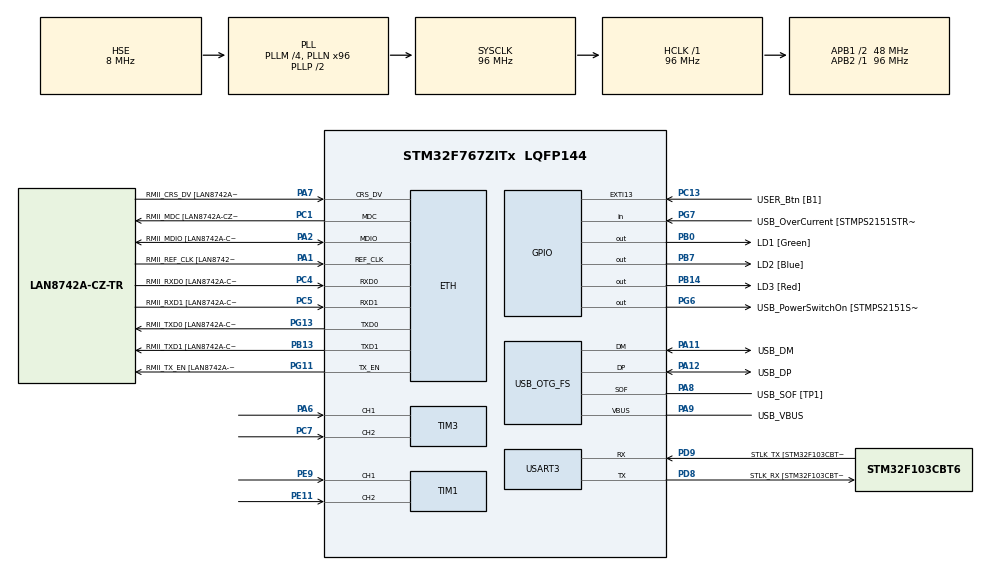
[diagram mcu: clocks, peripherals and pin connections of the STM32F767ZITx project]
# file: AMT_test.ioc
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Dma.Request0=USART3_TX
Dma.USART3_TX.0.Direction=DMA_MEMORY_TO_PERIPH
Dma.USART3_TX.0.FIFOMode=DMA_FIFOMODE_DISABLE
Dma.USART3_TX.0.Instance=DMA1_Stream3
Dma.USART3_TX.0.MemDataAlignment=DMA_MDATAALIGN_BYTE
Dma.USART3_TX.0.MemInc=DMA_MINC_ENABLE
Dma.USART3_TX.0.Mode=DMA_NORMAL
Dma.USART3_TX.0.PeriphDataAlignment=DMA_PDATAALIGN_BYTE
Dma.USART3_TX.0.PeriphInc=DMA_PINC_DISABLE
Dma.USART3_TX.0.Priority=DMA_PRIORITY_LOW
ETH.MediaInterface=HAL_ETH_RMII_MODE
ETH.PHY_Name=LAN8742A_PHY_ADDRESS
ETH.PHY_Value=0
ETH.PhyAddress=0
Mcu.Family=STM32F7
Mcu.Name=STM32F767ZITx
Mcu.Package=LQFP144
NVIC.DMA1_Stream3_IRQn=true\:0\:0\:false\:false\:true\:false\:true\:true
NVIC.PriorityGroup=NVIC_PRIORITYGROUP_4
NVIC.TIM3_IRQn=true\:0\:0\:false\:false\:true\:true\:true\:true
NVIC.USART3_IRQn=true\:0\:0\:false\:false\:true\:true\:true\:true
PA1.GPIO_Label=RMII_REF_CLK [LAN8742A-CZ-TR_REFCLK0]
PA1.Mode=RMII
PA1.Signal=ETH_REF_CLK
PA10.GPIO_Label=USB_ID
PA10.Signal=USB_OTG_FS_ID
PA11.GPIO_Label=USB_DM
PA11.Mode=Device_Only
PA11.Signal=USB_OTG_FS_DM
PA12.GPIO_Label=USB_DP
PA12.Mode=Device_Only
PA12.Signal=USB_OTG_FS_DP
PA13.GPIO_Label=TMS
PA13.Mode=Serial_Wire
PA13.Signal=SYS_JTMS-SWDIO
PA14.GPIO_Label=TCK
PA14.Mode=Serial_Wire
PA14.Signal=SYS_JTCK-SWCLK
PA2.GPIO_Label=RMII_MDIO [LAN8742A-CZ-TR_MDIO]
PA2.Mode=RMII
PA2.Signal=ETH_MDIO
PA6.Signal=S_TIM3_CH1
PA7.GPIO_Label=RMII_CRS_DV [LAN8742A-CZ-TR_CRS_DV]
PA7.Mode=RMII
PA7.Signal=ETH_CRS_DV
PA8.GPIO_Label=USB_SOF [TP1]
PA8.Mode=Activate_SOF_FS
PA8.Signal=USB_OTG_FS_SOF
PA9.GPIO_Label=USB_VBUS
PA9.Mode=Activate_VBUS
PA9.Signal=USB_OTG_FS_VBUS
PB0.GPIO_Label=LD1 [Green]
PB0.Signal=GPIO_Output
PB13.GPIO_Label=RMII_TXD1 [LAN8742A-CZ-TR_TXD1]
PB13.Mode=RMII
PB13.Signal=ETH_TXD1
PB14.GPIO_Label=LD3 [Red]
PB14.Signal=GPIO_Output
PB3.GPIO_Label=SWO
PB3.Signal=SYS_JTDO-SWO
PB7.GPIO_Label=LD2 [Blue]
PB7.Signal=GPIO_Output
PC1.GPIO_Label=RMII_MDC [LAN8742A-CZ-TR_MDC]
PC1.Mode=RMII
PC1.Signal=ETH_MDC
PC13.GPIO_Label=USER_Btn [B1]
PC13.Signal=GPXTI13
PC14/OSC32_IN.Mode=LSE-External-Oscillator
PC14/OSC32_IN.Signal=RCC_OSC32_IN
PC15/OSC32_OUT.Mode=LSE-External-Oscillator
PC15/OSC32_OUT.Signal=RCC_OSC32_OUT
PC4.GPIO_Label=RMII_RXD0 [LAN8742A-CZ-TR_RXD0]
PC4.Mode=RMII
PC4.Signal=ETH_RXD0
PC5.GPIO_Label=RMII_RXD1 [LAN8742A-CZ-TR_RXD1]
PC5.Mode=RMII
PC5.Signal=ETH_RXD1
PC7.Signal=S_TIM3_CH2
PD8.GPIO_Label=STLK_RX [STM32F103CBT6_PA3]
PD8.Mode=Asynchronous
PD8.Signal=USART3_TX
PD9.GPIO_Label=STLK_TX [STM32F103CBT6_PA2]
PD9.Mode=Asynchronous
PD9.Signal=USART3_RX
PE11.Signal=S_TIM1_CH2
PE9.Signal=S_TIM1_CH1
PG11.GPIO_Label=RMII_TX_EN [LAN8742A-CZ-TR_TXEN]
PG11.Mode=RMII
PG11.Signal=ETH_TX_EN
PG13.GPIO_Label=RMII_TXD0 [LAN8742A-CZ-TR_TXD0]
PG13.Mode=RMII
PG13.Signal=ETH_TXD0
PG6.GPIO_Label=USB_PowerSwitchOn [STMPS2151STR_EN]
PG6.Signal=GPIO_Output
PG7.GPIO_Label=USB_OverCurrent [STMPS2151STR_FAULT]
PG7.Signal=GPIO_Input
PH0/OSC_IN.GPIO_Label=MCO [STM32F103CBT6_PA8]
PH0/OSC_IN.Mode=HSE-External-Clock-Source
PH0/OSC_IN.Signal=RCC_OSC_IN
PH1/OSC_OUT.Mode=HSE-External-Clock-Source
PH1/OSC_OUT.Signal=RCC_OSC_OUT
ProjectManager.HeapSize=0x200
ProjectManager.StackSize=0x400
ProjectManager.TargetToolchain=STM32CubeIDE
RCC.48MHZClocksFreq_Value=24000000
RCC.AHBFreq_Value=96000000
RCC.APB1CLKDivider=RCC_HCLK_DIV2
RCC.APB1Freq_Value=48000000
RCC.APB1TimFreq_Value=96000000
RCC.APB2Freq_Value=96000000
RCC.APB2TimFreq_Value=96000000
RCC.CortexFreq_Value=96000000
RCC.HCLKFreq_Value=96000000
RCC.HSE_VALUE=8000000
RCC.HSI_VALUE=16000000
RCC.PLLM=4
RCC.PLLMUL=RCC_PLL_MUL9
RCC.PLLN=96
RCC.PLLQ=4
RCC.PRESCALERUSB=RCC_USBCLKSOURCE_PLL_DIV1_5
RCC.SYSCLKFreq_VALUE=96000000
RCC.SYSCLKSource=RCC_SYSCLKSOURCE_PLLCLK
RCC.SYSCLKSourceVirtual=RCC_SYSCLKSOURCE_PLLCLK
RCC.USBFreq_Value=48000000
RCC.VCOOutputFreq_Value=192000000
SH.S_TIM1_CH1.0=TIM1_CH1,Encoder_Interface
SH.S_TIM1_CH2.0=TIM1_CH2,Encoder_Interface
SH.S_TIM3_CH1.0=TIM3_CH1,Encoder_Interface
SH.S_TIM3_CH2.0=TIM3_CH2,Encoder_Interface
TIM1.EncoderMode=TIM_ENCODERMODE_TI12
TIM3.EncoderMode=TIM_ENCODERMODE_TI12
USART3.VirtualMode-Asynchronous=VM_ASYNC
USB_OTG_FS.VirtualMode=Device_Only
board=NUCLEO-F767ZI

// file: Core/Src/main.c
/* USER CODE BEGIN Header */
/**
  ******************************************************************************
  * @file           : main.c
  * @brief          : Main program body
  ******************************************************************************
  * @attention
  *
  * Copyright (c) 2024 STMicroelectronics.
  * All rights reserved.
  *
  * This software is licensed under terms that can be found in the LICENSE file
  * in the root directory of this software component.
  * If no LICENSE file comes with this software, it is provided AS-IS.
  *
  ******************************************************************************
  */
/* USER CODE END Header */
#include "main.h"
#include "string.h"

/* USER CODE BEGIN Includes */
#include "encoder.h"
#include "math.h"
#include "stdio.h"
/* USER CODE END Includes */

#if defined ( __ICCARM__ ) /*!< IAR Compiler */
#pragma location=0x2007c000
ETH_DMADescTypeDef  DMARxDscrTab[ETH_RX_DESC_CNT]; /* Ethernet Rx DMA Descriptors */
#pragma location=0x2007c0a0
ETH_DMADescTypeDef  DMATxDscrTab[ETH_TX_DESC_CNT]; /* Ethernet Tx DMA Descriptors */

#elif defined ( __CC_ARM )  /* MDK ARM Compiler */

__attribute__((at(0x2007c000))) ETH_DMADescTypeDef  DMARxDscrTab[ETH_RX_DESC_CNT]; /* Ethernet Rx DMA Descriptors */
__attribute__((at(0x2007c0a0))) ETH_DMADescTypeDef  DMATxDscrTab[ETH_TX_DESC_CNT]; /* Ethernet Tx DMA Descriptors */

#elif defined ( __GNUC__ ) /* GNU Compiler */
ETH_DMADescTypeDef DMARxDscrTab[ETH_RX_DESC_CNT] __attribute__((section(".RxDecripSection"))); /* Ethernet Rx DMA Descriptors */
ETH_DMADescTypeDef DMATxDscrTab[ETH_TX_DESC_CNT] __attribute__((section(".TxDecripSection")));   /* Ethernet Tx DMA Descriptors */

#endif

ETH_TxPacketConfig TxConfig;

ETH_HandleTypeDef heth;

TIM_HandleTypeDef htim1;
TIM_HandleTypeDef htim3;

UART_HandleTypeDef huart3;
DMA_HandleTypeDef hdma_usart3_tx;

PCD_HandleTypeDef hpcd_USB_OTG_FS;

/* USER CODE BEGIN PV */

#define pointer

#ifdef pointer
Enc_HandleTypedef *enc_state_1;
#else
Enc_HandleTypedef enc_state_1;
#endif
/* USER CODE END PV */

void SystemClock_Config(void);
static void MX_GPIO_Init(void);
static void MX_DMA_Init(void);
static void MX_USART3_UART_Init(void);
static void MX_USB_OTG_FS_PCD_Init(void);
static void MX_ETH_Init(void);
static void MX_TIM3_Init(void);
static void MX_TIM1_Init(void);

/* USER CODE BEGIN 0 */

#ifdef __GNUC__
#define PUTCHAR_PROTOTYPE int __io_putchar(uint8_t ch)
#else
#define PUTCHAR_PROTOTYPE int fputc(int ch, FILE *f)
#endif /* __GNUC__ */

PUTCHAR_PROTOTYPE {
    HAL_UART_Transmit(&huart3, &ch, 1, 500);
    return ch;
}

/*
 *
 * @param
 * @return
 * @note
 */
void EncoderUpdateData(Enc_HandleTypedef *enc_state) {
	int32_t present_cnt = __HAL_TIM_GET_COUNTER(enc_state->Init.htim);
	int32_t diff_cnt;
	volatile float diff;

	//差
	diff_cnt = enc_state->Init.cnt_dir * (present_cnt - enc_state->prev_cnt);

	//a.
	diff = (float)diff_cnt * enc_state->Init.value_per_pulse / 4;

	//b.速度の??��?��?
	enc_state->vel = diff / enc_state->Init.update_freq;

	//c.位置の??��?��?
	enc_state->pos += diff;

	//d.
	enc_state->prev_cnt = present_cnt;
	//e.
	if ((present_cnt > (ENC_CNT_PERIOD-ENC_CNT_MARGIN)) || (present_cnt < ENC_CNT_MARGIN)) {
		__HAL_TIM_SET_COUNTER(enc_state->Init.htim, ENC_CNT_RESET);
		enc_state->prev_cnt = ENC_CNT_RESET;
	}
}

/*
 *
 * @param
 * @return
 */
void EncoderEnable(Enc_HandleTypedef* enc_state) {
	printf("Encoder : Enable\n\r");
	HAL_TIM_Encoder_Start(enc_state->Init.htim, TIM_CHANNEL_ALL);
	__HAL_TIM_SET_COUNTER(enc_state->Init.htim, ENC_CNT_RESET);
	enc_state->prev_cnt = ENC_CNT_RESET;
}

/*
 *
 * @param
 * @return
 */
void EncoderDisable(Enc_HandleTypedef* enc_state) {
	printf("Encoder : Disable\n\r");
	HAL_TIM_Encoder_Stop(enc_state->Init.htim, TIM_CHANNEL_ALL);
}

/* USER CODE END 0 */

int main(void)
{
  /* USER CODE BEGIN 1 */
    HAL_GPIO_TogglePin(GPIOB, GPIO_PIN_7);
    printf("for Debug");
  /* USER CODE END 1 */

  /* MCU Configuration--------------------------------------------------------*/

  /* Reset of all peripherals, Initializes the Flash interface and the Systick. */
  HAL_Init();

  /* Configure the system clock */
  SystemClock_Config();

  /* Initialize all configured peripherals */
  MX_GPIO_Init();
  MX_DMA_Init();
  MX_USART3_UART_Init();
  MX_USB_OTG_FS_PCD_Init();
  MX_ETH_Init();
  MX_TIM3_Init();
  MX_TIM1_Init();
  /* USER CODE BEGIN 2 */

#ifdef pointer
  //enc_state_1->Init.htim = &htim1;
  enc_state_1->Init.htim = &htim3;
  enc_state_1->Init.update_freq = 1.0f / 1000.0f;

  EncoderEnable(&enc_state_1);

  enc_state_1->pos = 0;

  HAL_TIM_Encoder_Start(&htim1, TIM_CHANNEL_ALL);

#else
  enc_state_1.Init.htim = &htim3;
  enc_state_1.Init.update_freq = 1.0f / 1000.0f;

  EncoderEnable(&enc_state_1);
#endif
  HAL_GPIO_TogglePin(GPIOB, GPIO_PIN_0);
  /* USER CODE END 2 */

  /* Infinite loop */
  /* USER CODE BEGIN WHILE */
  while (1)
  {
	  EncoderUpdateData(&enc_state_1);
	  HAL_GPIO_TogglePin(GPIOB, GPIO_PIN_7);
	  printf("AMT value %d\n\r",((int)(enc_state_1->pos))*10);
	  HAL_Delay(100);

	  float x = __HAL_TIM_GET_COUNTER(&htim1);
	  float y = TIM1->CNT;
	  printf("%d   %d\n\r",(int)x,(int)y);

	  float z = __HAL_TIM_GET_COUNTER(&htim3);
	  float w = TIM3->CNT;
	  printf("%d   %d\n\r",(int)z,(int)w);

    /* USER CODE END WHILE */

  }
}

void SystemClock_Config(void)
{
  RCC_OscInitTypeDef RCC_OscInitStruct = {0};
  RCC_ClkInitTypeDef RCC_ClkInitStruct = {0};

  /** Configure LSE Drive Capability
  */
  HAL_PWR_EnableBkUpAccess();

  /** Configure the main internal regulator output voltage
  */
  __HAL_RCC_PWR_CLK_ENABLE();
  __HAL_PWR_VOLTAGESCALING_CONFIG(PWR_REGULATOR_VOLTAGE_SCALE3);

  /** Initializes the RCC Oscillators according to the specified parameters
  * in the RCC_OscInitTypeDef structure.
  */
  RCC_OscInitStruct.OscillatorType = RCC_OSCILLATORTYPE_HSE;
  RCC_OscInitStruct.HSEState = RCC_HSE_BYPASS;
  RCC_OscInitStruct.PLL.PLLState = RCC_PLL_ON;
  RCC_OscInitStruct.PLL.PLLSource = RCC_PLLSOURCE_HSE;
  RCC_OscInitStruct.PLL.PLLM = 4;
  RCC_OscInitStruct.PLL.PLLN = 96;
  RCC_OscInitStruct.PLL.PLLP = RCC_PLLP_DIV2;
  RCC_OscInitStruct.PLL.PLLQ = 4;
  RCC_OscInitStruct.PLL.PLLR = 2;
  if (HAL_RCC_OscConfig(&RCC_OscInitStruct) != HAL_OK)
  {
    Error_Handler();
  }

  /** Activate the Over-Drive mode
  */
  if (HAL_PWREx_EnableOverDrive() != HAL_OK)
  {
    Error_Handler();
  }

  /** Initializes the CPU, AHB and APB buses clocks
  */
  RCC_ClkInitStruct.ClockType = RCC_CLOCKTYPE_HCLK|RCC_CLOCKTYPE_SYSCLK
                              |RCC_CLOCKTYPE_PCLK1|RCC_CLOCKTYPE_PCLK2;
  RCC_ClkInitStruct.SYSCLKSource = RCC_SYSCLKSOURCE_PLLCLK;
  RCC_ClkInitStruct.AHBCLKDivider = RCC_SYSCLK_DIV1;
  RCC_ClkInitStruct.APB1CLKDivider = RCC_HCLK_DIV2;
  RCC_ClkInitStruct.APB2CLKDivider = RCC_HCLK_DIV1;

  if (HAL_RCC_ClockConfig(&RCC_ClkInitStruct, FLASH_LATENCY_3) != HAL_OK)
  {
    Error_Handler();
  }
}

static void MX_ETH_Init(void)
{

   static uint8_t MACAddr[6];

  heth.Instance = ETH;
  MACAddr[0] = 0x00;
  MACAddr[1] = 0x80;
  MACAddr[2] = 0xE1;
  MACAddr[3] = 0x00;
  MACAddr[4] = 0x00;
  MACAddr[5] = 0x00;
  heth.Init.MACAddr = &MACAddr[0];
  heth.Init.MediaInterface = HAL_ETH_RMII_MODE;
  heth.Init.TxDesc = DMATxDscrTab;
  heth.Init.RxDesc = DMARxDscrTab;
  heth.Init.RxBuffLen = 1524;

  if (HAL_ETH_Init(&heth) != HAL_OK)
  {
    Error_Handler();
  }

  memset(&TxConfig, 0 , sizeof(ETH_TxPacketConfig));
  TxConfig.Attributes = ETH_TX_PACKETS_FEATURES_CSUM | ETH_TX_PACKETS_FEATURES_CRCPAD;
  TxConfig.ChecksumCtrl = ETH_CHECKSUM_IPHDR_PAYLOAD_INSERT_PHDR_CALC;
  TxConfig.CRCPadCtrl = ETH_CRC_PAD_INSERT;

}

static void MX_TIM1_Init(void)
{

  TIM_Encoder_InitTypeDef sConfig = {0};
  TIM_MasterConfigTypeDef sMasterConfig = {0};

  htim1.Instance = TIM1;
  htim1.Init.Prescaler = 0;
  htim1.Init.CounterMode = TIM_COUNTERMODE_UP;
  htim1.Init.Period = 65535;
  htim1.Init.ClockDivision = TIM_CLOCKDIVISION_DIV1;
  htim1.Init.RepetitionCounter = 0;
  htim1.Init.AutoReloadPreload = TIM_AUTORELOAD_PRELOAD_DISABLE;
  sConfig.EncoderMode = TIM_ENCODERMODE_TI12;
  sConfig.IC1Polarity = TIM_ICPOLARITY_RISING;
  sConfig.IC1Selection = TIM_ICSELECTION_DIRECTTI;
  sConfig.IC1Prescaler = TIM_ICPSC_DIV1;
  sConfig.IC1Filter = 0;
  sConfig.IC2Polarity = TIM_ICPOLARITY_RISING;
  sConfig.IC2Selection = TIM_ICSELECTION_DIRECTTI;
  sConfig.IC2Prescaler = TIM_ICPSC_DIV1;
  sConfig.IC2Filter = 0;
  if (HAL_TIM_Encoder_Init(&htim1, &sConfig) != HAL_OK)
  {
    Error_Handler();
  }
  sMasterConfig.MasterOutputTrigger = TIM_TRGO_RESET;
  sMasterConfig.MasterOutputTrigger2 = TIM_TRGO2_RESET;
  sMasterConfig.MasterSlaveMode = TIM_MASTERSLAVEMODE_DISABLE;
  if (HAL_TIMEx_MasterConfigSynchronization(&htim1, &sMasterConfig) != HAL_OK)
  {
    Error_Handler();
  }

}

static void MX_TIM3_Init(void)
{

  TIM_Encoder_InitTypeDef sConfig = {0};
  TIM_MasterConfigTypeDef sMasterConfig = {0};

  htim3.Instance = TIM3;
  htim3.Init.Prescaler = 0;
  htim3.Init.CounterMode = TIM_COUNTERMODE_UP;
  htim3.Init.Period = 65535;
  htim3.Init.ClockDivision = TIM_CLOCKDIVISION_DIV1;
  htim3.Init.AutoReloadPreload = TIM_AUTORELOAD_PRELOAD_DISABLE;
  sConfig.EncoderMode = TIM_ENCODERMODE_TI12;
  sConfig.IC1Polarity = TIM_ICPOLARITY_RISING;
  sConfig.IC1Selection = TIM_ICSELECTION_DIRECTTI;
  sConfig.IC1Prescaler = TIM_ICPSC_DIV1;
  sConfig.IC1Filter = 0;
  sConfig.IC2Polarity = TIM_ICPOLARITY_RISING;
  sConfig.IC2Selection = TIM_ICSELECTION_DIRECTTI;
  sConfig.IC2Prescaler = TIM_ICPSC_DIV1;
  sConfig.IC2Filter = 0;
  if (HAL_TIM_Encoder_Init(&htim3, &sConfig) != HAL_OK)
  {
    Error_Handler();
  }
  sMasterConfig.MasterOutputTrigger = TIM_TRGO_RESET;
  sMasterConfig.MasterSlaveMode = TIM_MASTERSLAVEMODE_DISABLE;
  if (HAL_TIMEx_MasterConfigSynchronization(&htim3, &sMasterConfig) != HAL_OK)
  {
    Error_Handler();
  }

}

static void MX_USART3_UART_Init(void)
{

  huart3.Instance = USART3;
  huart3.Init.BaudRate = 115200;
  huart3.Init.WordLength = UART_WORDLENGTH_8B;
  huart3.Init.StopBits = UART_STOPBITS_1;
  huart3.Init.Parity = UART_PARITY_NONE;
  huart3.Init.Mode = UART_MODE_TX_RX;
  huart3.Init.HwFlowCtl = UART_HWCONTROL_NONE;
  huart3.Init.OverSampling = UART_OVERSAMPLING_16;
  huart3.Init.OneBitSampling = UART_ONE_BIT_SAMPLE_DISABLE;
  huart3.AdvancedInit.AdvFeatureInit = UART_ADVFEATURE_NO_INIT;
  if (HAL_UART_Init(&huart3) != HAL_OK)
  {
    Error_Handler();
  }

}

static void MX_USB_OTG_FS_PCD_Init(void)
{

  hpcd_USB_OTG_FS.Instance = USB_OTG_FS;
  hpcd_USB_OTG_FS.Init.dev_endpoints = 6;
  hpcd_USB_OTG_FS.Init.speed = PCD_SPEED_FULL;
  hpcd_USB_OTG_FS.Init.dma_enable = DISABLE;
  hpcd_USB_OTG_FS.Init.phy_itface = PCD_PHY_EMBEDDED;
  hpcd_USB_OTG_FS.Init.Sof_enable = ENABLE;
  hpcd_USB_OTG_FS.Init.low_power_enable = DISABLE;
  hpcd_USB_OTG_FS.Init.lpm_enable = DISABLE;
  hpcd_USB_OTG_FS.Init.vbus_sensing_enable = ENABLE;
  hpcd_USB_OTG_FS.Init.use_dedicated_ep1 = DISABLE;
  if (HAL_PCD_Init(&hpcd_USB_OTG_FS) != HAL_OK)
  {
    Error_Handler();
  }

}

static void MX_DMA_Init(void)
{

  /* DMA controller clock enable */
  __HAL_RCC_DMA1_CLK_ENABLE();

  /* DMA interrupt init */
  /* DMA1_Stream3_IRQn interrupt configuration */
  HAL_NVIC_SetPriority(DMA1_Stream3_IRQn, 0, 0);
  HAL_NVIC_EnableIRQ(DMA1_Stream3_IRQn);

}

static void MX_GPIO_Init(void)
{
  GPIO_InitTypeDef GPIO_InitStruct = {0};

  /* GPIO Ports Clock Enable */
  __HAL_RCC_GPIOC_CLK_ENABLE();
  __HAL_RCC_GPIOH_CLK_ENABLE();
  __HAL_RCC_GPIOA_CLK_ENABLE();
  __HAL_RCC_GPIOB_CLK_ENABLE();
  __HAL_RCC_GPIOE_CLK_ENABLE();
  __HAL_RCC_GPIOD_CLK_ENABLE();
  __HAL_RCC_GPIOG_CLK_ENABLE();

  /*Configure GPIO pin Output Level */
  HAL_GPIO_WritePin(GPIOB, LD1_Pin|LD3_Pin|LD2_Pin, GPIO_PIN_RESET);

  /*Configure GPIO pin Output Level */
  HAL_GPIO_WritePin(USB_PowerSwitchOn_GPIO_Port, USB_PowerSwitchOn_Pin, GPIO_PIN_RESET);

  /*Configure GPIO pin : USER_Btn_Pin */
  GPIO_InitStruct.Pin = USER_Btn_Pin;
  GPIO_InitStruct.Mode = GPIO_MODE_IT_RISING;
  GPIO_InitStruct.Pull = GPIO_NOPULL;
  HAL_GPIO_Init(USER_Btn_GPIO_Port, &GPIO_InitStruct);

  /*Configure GPIO pins : LD1_Pin LD3_Pin LD2_Pin */
  GPIO_InitStruct.Pin = LD1_Pin|LD3_Pin|LD2_Pin;
  GPIO_InitStruct.Mode = GPIO_MODE_OUTPUT_PP;
  GPIO_InitStruct.Pull = GPIO_NOPULL;
  GPIO_InitStruct.Speed = GPIO_SPEED_FREQ_LOW;
  HAL_GPIO_Init(GPIOB, &GPIO_InitStruct);

  /*Configure GPIO pin : USB_PowerSwitchOn_Pin */
  GPIO_InitStruct.Pin = USB_PowerSwitchOn_Pin;
  GPIO_InitStruct.Mode = GPIO_MODE_OUTPUT_PP;
  GPIO_InitStruct.Pull = GPIO_NOPULL;
  GPIO_InitStruct.Speed = GPIO_SPEED_FREQ_LOW;
  HAL_GPIO_Init(USB_PowerSwitchOn_GPIO_Port, &GPIO_InitStruct);

  /*Configure GPIO pin : USB_OverCurrent_Pin */
  GPIO_InitStruct.Pin = USB_OverCurrent_Pin;
  GPIO_InitStruct.Mode = GPIO_MODE_INPUT;
  GPIO_InitStruct.Pull = GPIO_NOPULL;
  HAL_GPIO_Init(USB_OverCurrent_GPIO_Port, &GPIO_InitStruct);

}

void Error_Handler(void)
{
  __disable_irq();
  while (1)
  {
  }
}
